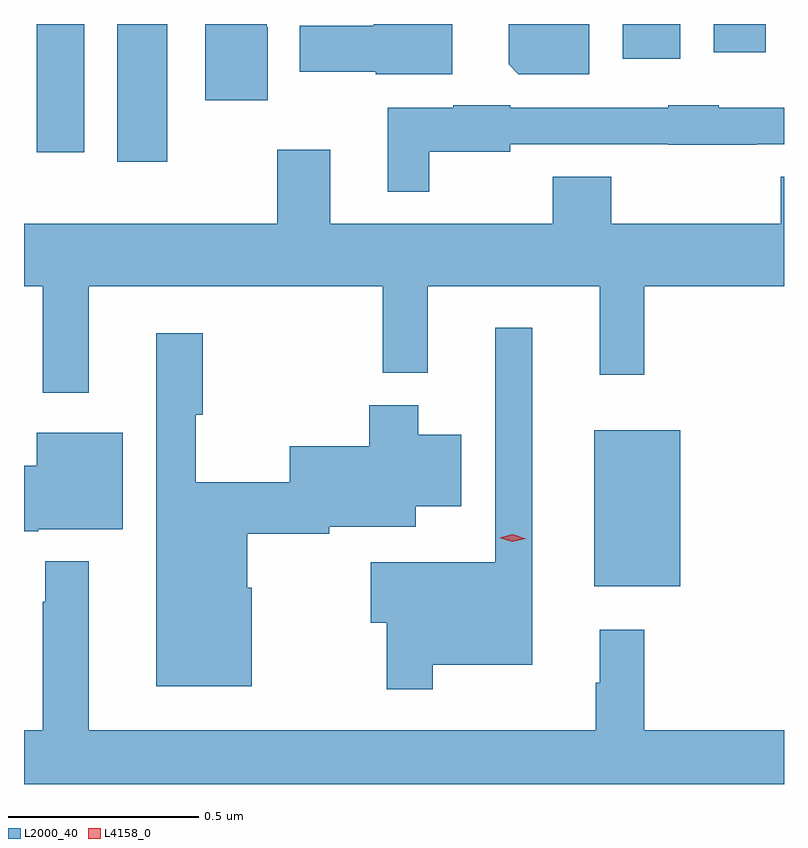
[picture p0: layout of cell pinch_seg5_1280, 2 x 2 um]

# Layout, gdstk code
import gdstk
lib = gdstk.Library(unit=1e-6, precision=1e-09)
def R(c, l, rs):  # rectangles x0, y0, x1, y1
    for r in rs: c.add(gdstk.rectangle(r[:2], r[2:], *l))
def P(c, l, *ps):  # polygons
    for p in ps: c.add(gdstk.Polygon(p, *l))
L2000_40 = (2000, 40)
L4158_0 = (4158, 0)

pinch_seg5_1280 = lib.new_cell('pinch_seg5_1280')
R(pinch_seg5_1280, L2000_40, [(395.489,885.275,395.716,885.685), (394.235,886.392,394.366,886.754), (394.022,886.416,394.147,886.754), (395.564,886.662,395.716,886.754), (395.804,886.68,395.941,886.754)])
P(pinch_seg5_1280, L2000_40, [(395.476,886.754),(395.264,886.754),(395.264,886.648),(395.29,886.622),(395.476,886.622)],
  [(395.116,886.754),(394.91,886.754),(394.91,886.75),(394.715,886.75),(394.715,886.628),(394.914,886.628),(394.914,886.622),(395.116,886.622)],
  [(394.63,886.746),(394.628,886.746),(394.628,886.754),(394.466,886.754),(394.466,886.554),(394.63,886.554)],
  [(395.056,886.418),(395.268,886.418),(395.268,886.437),(395.685,886.437),(395.685,886.436),(395.917,886.436),(395.917,886.437),(395.989,886.437),(395.989,886.534),(395.817,886.534),(395.817,886.54),(395.685,886.54),(395.685,886.533),(395.268,886.533),(395.268,886.54),(395.118,886.54),(395.118,886.534),(394.946,886.534),(394.946,886.313),(395.056,886.313)],
  [(395.535,886.352),(395.38,886.352),(395.38,886.228),(394.795,886.228),(394.795,886.423),(394.655,886.423),(394.655,886.228),(393.989,886.228),(393.989,886.064),(394.038,886.064),(394.038,885.783),(394.159,885.783),(394.159,886.064),(394.933,886.064),(394.933,885.836),(395.051,885.836),(395.051,886.064),(395.504,886.064),(395.504,885.831),(395.621,885.831),(395.621,886.064),(395.989,886.064),(395.989,886.352),(395.98,886.352),(395.98,886.228),(395.535,886.228)],
  [(395.065,885.068),(395.326,885.068),(395.326,885.955),(395.229,885.955),(395.229,885.337),(394.902,885.337),(394.902,885.179),(394.944,885.179),(394.944,885.003),(395.065,885.003)],
  [(394.588,885.27),(394.576,885.27),(394.576,885.412),(394.792,885.412),(394.792,885.431),(395.02,885.431),(395.02,885.485),(395.14,885.485),(395.14,885.673),(395.026,885.673),(395.026,885.751),(394.897,885.751),(394.897,885.643),(394.688,885.643),(394.688,885.548),(394.441,885.548),(394.441,885.726),(394.459,885.726),(394.459,885.94),(394.337,885.94),(394.337,885.011),(394.588,885.011)],
  [(394.026,885.425),(394.249,885.425),(394.249,885.679),(394.022,885.679),(394.022,885.591),(393.989,885.591),(393.989,885.419),(394.026,885.419)],
  [(395.989,884.896),(395.621,884.896),(395.621,885.16),(395.504,885.16),(395.504,885.02),(395.493,885.02),(395.493,884.896),(394.159,884.896),(394.159,885.34),(394.045,885.34),(394.045,885.233),(394.038,885.233),(394.038,884.896),(393.989,884.896),(393.989,884.754),(395.989,884.754)])
P(pinch_seg5_1280, L4158_0, [(395.274,885.391),(395.239,885.402),(395.239,885.402),(395.239,885.402),(395.275,885.411),(395.31,885.399),(395.311,885.399),(395.31,885.399)])

lib.write_gds('pinch_seg5_1280.gds')
